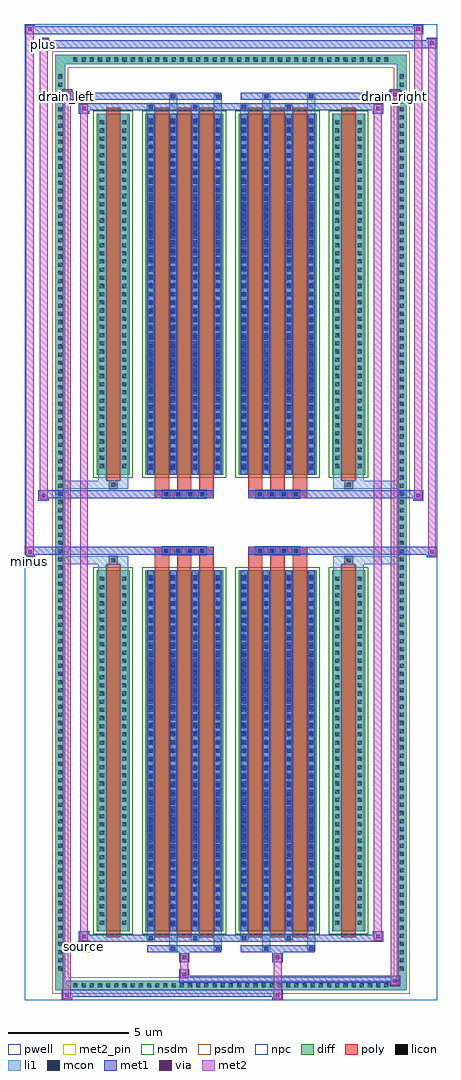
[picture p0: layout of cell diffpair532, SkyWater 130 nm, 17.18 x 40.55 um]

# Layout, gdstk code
import gdstk
lib = gdstk.Library(unit=1e-6, precision=5e-09)
def R(c, l, rs):  # rectangles x0, y0, x1, y1
    for r in rs: c.add(gdstk.rectangle(r[:2], r[2:], *l))
def A(c, l, x, y, w, h, nx, ny, dx, dy):  # array of equal rectangles
    R(c, l, [(x+i*dx, y+j*dy, x+i*dx+w, y+j*dy+h) for i in range(nx) for j in range(ny)])
def P(c, l, *ps):  # polygons
    for p in ps: c.add(gdstk.Polygon(p, *l))
pwell = (64, 44)
diff = (65, 20)
poly = (66, 20)
licon = (66, 44)
li1 = (67, 20)
mcon = (67, 44)
met1 = (68, 20)
via = (68, 44)
met2_pin = (69, 16)
met2 = (69, 20)
nsdm = (93, 44)
psdm = (94, 20)
npc = (95, 20)

diffpair532 = lib.new_cell('diffpair532')
R(diffpair532, pwell, [(-8.57,-19.84,8.57,20.71), (-5.89,-18.03,-0.01,-0.805), (0.01,-18.03,5.89,-0.805), (-5.89,0.805,-0.01,18.03), (0.01,0.805,5.89,18.03)])
A(diffpair532, diff, -6.665, -19.44, 0.41, 0.41, 39, 2, 0.34, 38.47)
A(diffpair532, diff, -7.3, -18.735, 0.41, 0.41, 1, 110, 0, 0.34)
A(diffpair532, diff, 6.89, -18.735, 0.41, 0.41, 1, 110, 0, 0.34)
R(diffpair532, diff, [(-6.665,-19.44,6.665,-19.03), (-7.3,-18.735,-6.89,18.735), (6.89,-18.735,7.3,18.735), (-5.58,-16.985,-4.2,-1.985), (-3.56,-16.985,-0.32,-1.985), (0.32,-16.985,3.56,-1.985), (4.2,-16.985,5.58,-1.985), (-5.58,1.985,-4.2,16.985), (-3.56,1.985,-0.32,16.985), (0.32,1.985,3.56,16.985), (4.2,1.985,5.58,16.985), (-6.665,19.03,6.665,19.44)])
P(diffpair532, diff, [(7.3,19.44),(-7.3,19.44),(-7.3,-19.03),(-6.89,-19.03),(-6.89,19.03),(6.89,19.03),(6.89,-19.03),(-6.89,-19.03),(-7.3,-19.03),(-7.3,-19.44),(7.3,-19.44)])
A(diffpair532, poly, -3.17, -17.235, 0.6, 15.5, 3, 2, 0.93, 18.97)
A(diffpair532, poly, 0.71, -17.235, 0.6, 15.5, 3, 2, 0.93, 18.97)
A(diffpair532, poly, -3.17, -1.735, 0.6, 0.4, 3, 2, 0.93, 3.07)
A(diffpair532, poly, 0.71, -1.735, 0.6, 0.4, 3, 2, 0.93, 3.07)
A(diffpair532, poly, -2.855, -1.335, 0.33, 0.33, 4, 2, 0.5, 2.34)
A(diffpair532, poly, 1.025, -1.335, 0.33, 0.33, 4, 2, 0.5, 2.34)
R(diffpair532, poly, [(-5.19,-17.235,-4.59,-1.735), (4.59,-17.235,5.19,-1.735), (-5.055,-1.735,-4.725,-1.405), (-5.055,-1.735,-4.725,-1.405), (4.725,-1.735,5.055,-1.405), (4.725,-1.735,5.055,-1.405), (-3.17,-1.335,-0.71,-1.005), (0.71,-1.335,3.17,-1.005), (-3.17,1.005,-0.71,1.335), (0.71,1.005,3.17,1.335), (-5.055,1.405,-4.725,1.735), (-5.055,1.405,-4.725,1.735), (4.725,1.405,5.055,1.735), (4.725,1.405,5.055,1.735), (-5.19,1.735,-4.59,17.235), (4.59,1.735,5.19,17.235)])
A(diffpair532, licon, -6.545, -19.32, 0.17, 0.17, 39, 2, 0.34, 38.47)
A(diffpair532, licon, -7.18, -18.615, 0.17, 0.17, 1, 110, 0, 0.34)
A(diffpair532, licon, 7.01, -18.615, 0.17, 0.17, 1, 110, 0, 0.34)
A(diffpair532, licon, -5.44, -16.71, 0.17, 0.17, 1, 43, 0, 0.34)
A(diffpair532, licon, -4.51, -16.71, 0.17, 0.17, 1, 43, 0, 0.34)
A(diffpair532, licon, -3.42, -16.71, 0.17, 0.17, 4, 43, 0.93, 0.34)
A(diffpair532, licon, 0.46, -16.71, 0.17, 0.17, 4, 43, 0.93, 0.34)
A(diffpair532, licon, 4.34, -16.71, 0.17, 0.17, 1, 43, 0, 0.34)
A(diffpair532, licon, 5.27, -16.71, 0.17, 0.17, 1, 43, 0, 0.34)
A(diffpair532, licon, -2.775, -1.255, 0.17, 0.17, 4, 2, 0.5, 2.34)
A(diffpair532, licon, 1.105, -1.255, 0.17, 0.17, 4, 2, 0.5, 2.34)
A(diffpair532, licon, -5.44, 2.26, 0.17, 0.17, 1, 43, 0, 0.34)
A(diffpair532, licon, -4.51, 2.26, 0.17, 0.17, 1, 43, 0, 0.34)
A(diffpair532, licon, -3.42, 2.26, 0.17, 0.17, 4, 43, 0.93, 0.34)
A(diffpair532, licon, 0.46, 2.26, 0.17, 0.17, 4, 43, 0.93, 0.34)
A(diffpair532, licon, 4.34, 2.26, 0.17, 0.17, 1, 43, 0, 0.34)
A(diffpair532, licon, 5.27, 2.26, 0.17, 0.17, 1, 43, 0, 0.34)
R(diffpair532, licon, [(-4.975,-1.655,-4.805,-1.485), (4.805,-1.655,4.975,-1.485), (-4.975,1.485,-4.805,1.655), (4.805,1.485,4.975,1.655)])
A(diffpair532, li1, -6.625, -19.4, 0.33, 0.33, 39, 2, 0.34, 38.47)
A(diffpair532, li1, -7.26, -18.695, 0.33, 0.33, 1, 110, 0, 0.34)
A(diffpair532, li1, 6.93, -18.695, 0.33, 0.33, 1, 110, 0, 0.34)
A(diffpair532, li1, -3.5, -16.985, 0.33, 15, 4, 2, 0.93, 18.97)
A(diffpair532, li1, 0.38, -16.985, 0.33, 15, 4, 2, 0.93, 18.97)
A(diffpair532, li1, -5.52, -16.79, 0.33, 0.33, 1, 43, 0, 0.34)
A(diffpair532, li1, -4.59, -16.79, 0.33, 0.33, 1, 43, 0, 0.34)
A(diffpair532, li1, -3.5, -16.79, 0.33, 0.33, 4, 43, 0.93, 0.34)
A(diffpair532, li1, 0.38, -16.79, 0.33, 0.33, 4, 43, 0.93, 0.34)
A(diffpair532, li1, 4.26, -16.79, 0.33, 0.33, 1, 43, 0, 0.34)
A(diffpair532, li1, 5.19, -16.79, 0.33, 0.33, 1, 43, 0, 0.34)
A(diffpair532, li1, -3.42, -16.77, 0.17, 0.17, 4, 41, 0.93, 0.36)
A(diffpair532, li1, -3.42, -16.77, 0.17, 14.57, 4, 2, 0.93, 18.97)
A(diffpair532, li1, 0.46, -16.77, 0.17, 0.17, 4, 41, 0.93, 0.36)
A(diffpair532, li1, 0.46, -16.77, 0.17, 14.57, 4, 2, 0.93, 18.97)
A(diffpair532, li1, -2.855, -1.335, 0.33, 0.33, 4, 2, 0.5, 2.34)
A(diffpair532, li1, 1.025, -1.335, 0.33, 0.33, 4, 2, 0.5, 2.34)
A(diffpair532, li1, -5.52, 2.18, 0.33, 0.33, 1, 43, 0, 0.34)
A(diffpair532, li1, -4.59, 2.18, 0.33, 0.33, 1, 43, 0, 0.34)
A(diffpair532, li1, -3.5, 2.18, 0.33, 0.33, 4, 43, 0.93, 0.34)
A(diffpair532, li1, 0.38, 2.18, 0.33, 0.33, 4, 43, 0.93, 0.34)
A(diffpair532, li1, 4.26, 2.18, 0.33, 0.33, 1, 43, 0, 0.34)
A(diffpair532, li1, 5.19, 2.18, 0.33, 0.33, 1, 43, 0, 0.34)
A(diffpair532, li1, -3.42, 2.2, 0.17, 0.17, 4, 41, 0.93, 0.36)
A(diffpair532, li1, 0.46, 2.2, 0.17, 0.17, 4, 41, 0.93, 0.36)
R(diffpair532, li1, [(-7.3,-19.44,-6.89,-19.03), (-7.3,-19.44,-6.89,-19.03), (-6.89,-19.44,6.89,-19.03), (6.89,-19.44,7.3,-19.03), (6.89,-19.44,7.3,-19.03), (-7.3,-19.03,-6.89,19.03), (6.89,-19.03,7.3,19.03), (-2.57,-17.79,-2.24,-16.985), (-2.49,-17.79,-2.32,-17.62), (-0.71,-17.79,-0.38,-16.985), (-0.63,-17.79,-0.46,-17.62), (1.31,-17.79,1.64,-16.985), (1.39,-17.79,1.56,-17.62), (3.17,-17.79,3.5,-16.985), (3.25,-17.79,3.42,-17.62), (-3.5,-17.36,-3.17,-16.985), (-3.42,-17.36,-3.25,-17.19), (-1.64,-17.36,-1.31,-16.985), (-1.56,-17.36,-1.39,-17.19), (0.38,-17.36,0.71,-16.985), (0.46,-17.36,0.63,-17.19), (2.24,-17.36,2.57,-16.985), (2.32,-17.36,2.49,-17.19), (-5.52,-16.985,-5.19,-1.985), (-4.59,-16.985,-4.26,-1.985), (4.26,-16.985,4.59,-1.985), (5.19,-16.985,5.52,-1.985), (-5.52,-1.985,-5.19,-1.405), (-4.59,-1.985,-4.26,-1.405), (4.26,-1.985,4.59,-1.405), (5.19,-1.985,5.52,-1.405), (-7.3,-1.735,-5.055,-1.405), (-5.52,-1.735,-5.055,-1.405), (-5.055,-1.735,-4.725,-1.405), (-4.725,-1.735,-4.26,-1.405), (4.26,-1.735,4.725,-1.405), (4.725,-1.735,5.055,-1.405), (4.725,-1.735,7.3,-1.405), (5.055,-1.735,5.52,-1.405), (-7.3,1.405,-5.055,1.735), (-5.52,1.405,-5.055,1.735), (-5.52,1.405,-5.19,1.985), (-5.055,1.405,-4.725,1.735), (-4.725,1.405,-4.26,1.735), (-4.59,1.405,-4.26,1.985), (4.26,1.405,4.725,1.735), (4.26,1.405,4.59,1.985), (4.725,1.405,5.055,1.735), (4.725,1.405,7.3,1.735), (5.055,1.405,5.52,1.735), (5.19,1.405,5.52,1.985), (-5.52,1.985,-5.19,16.985), (-4.59,1.985,-4.26,16.985), (4.26,1.985,4.59,16.985), (5.19,1.985,5.52,16.985), (-3.5,16.985,-3.17,17.36), (-2.57,16.985,-2.24,17.79), (-1.64,16.985,-1.31,17.36), (-0.71,16.985,-0.38,17.79), (0.38,16.985,0.71,17.36), (1.31,16.985,1.64,17.79), (2.24,16.985,2.57,17.36), (3.17,16.985,3.5,17.79), (-3.42,17.19,-3.25,17.36), (-1.56,17.19,-1.39,17.36), (0.46,17.19,0.63,17.36), (2.32,17.19,2.49,17.36), (-2.49,17.62,-2.32,17.79), (-0.63,17.62,-0.46,17.79), (1.39,17.62,1.56,17.79), (3.25,17.62,3.42,17.79), (-7.3,19.03,-6.89,19.44), (-7.3,19.03,-6.89,19.44), (-6.89,19.03,6.89,19.44), (6.89,19.03,7.3,19.44), (6.89,19.03,7.3,19.44)])
A(diffpair532, mcon, -3.42, -16.77, 0.17, 0.17, 4, 41, 0.93, 0.36)
A(diffpair532, mcon, 0.46, -16.77, 0.17, 0.17, 4, 41, 0.93, 0.36)
A(diffpair532, mcon, -2.775, -1.255, 0.17, 0.17, 4, 2, 0.5, 2.34)
A(diffpair532, mcon, 1.105, -1.255, 0.17, 0.17, 4, 2, 0.5, 2.34)
A(diffpair532, mcon, -3.42, 2.2, 0.17, 0.17, 4, 41, 0.93, 0.36)
A(diffpair532, mcon, 0.46, 2.2, 0.17, 0.17, 4, 41, 0.93, 0.36)
R(diffpair532, mcon, [(-2.49,-17.79,-2.32,-17.62), (-0.63,-17.79,-0.46,-17.62), (1.39,-17.79,1.56,-17.62), (3.25,-17.79,3.42,-17.62), (-3.42,-17.36,-3.25,-17.19), (-1.56,-17.36,-1.39,-17.19), (0.46,-17.36,0.63,-17.19), (2.32,-17.36,2.49,-17.19), (-3.42,17.19,-3.25,17.36), (-1.56,17.19,-1.39,17.36), (0.46,17.19,0.63,17.36), (2.32,17.19,2.49,17.36), (-2.49,17.62,-2.32,17.79), (-0.63,17.62,-0.46,17.79), (1.39,17.62,1.56,17.79), (3.25,17.62,3.42,17.79)])
A(diffpair532, met1, -3.48, -16.985, 0.29, 15, 4, 2, 0.93, 18.97)
A(diffpair532, met1, 0.4, -16.985, 0.29, 15, 4, 2, 0.93, 18.97)
A(diffpair532, met1, -3.48, -16.83, 0.29, 0.29, 4, 41, 0.93, 0.36)
A(diffpair532, met1, 0.4, -16.83, 0.29, 0.29, 4, 41, 0.93, 0.36)
A(diffpair532, met1, -2.835, -1.315, 0.29, 0.29, 4, 2, 0.5, 2.34)
A(diffpair532, met1, 1.045, -1.315, 0.29, 0.29, 4, 2, 0.5, 2.34)
A(diffpair532, met1, -3.48, 2.14, 0.29, 0.29, 4, 41, 0.93, 0.36)
A(diffpair532, met1, 0.4, 2.14, 0.29, 0.29, 4, 41, 0.93, 0.36)
R(diffpair532, met1, [(-7.03,-19.84,-6.6,-19.41), (1.725,-19.84,2.155,-19.41), (-7.03,-19.7,2.155,-19.41), (6.6,-19.27,7.03,-18.84), (-2.155,-19.13,7.03,-18.84), (-2.155,-18.99,-1.725,-18.56), (-2.155,-18.28,-1.725,-17.85), (1.725,-18.28,2.155,-17.85), (-3.48,-17.85,-0.4,-17.56), (-2.55,-17.85,-2.26,-17.56), (-0.69,-17.85,-0.4,-17.56), (0.4,-17.85,3.48,-17.56), (1.33,-17.85,1.62,-17.56), (3.19,-17.85,3.48,-17.56), (-6.32,-17.42,-5.89,-16.99), (-6.32,-17.42,-3.48,-17.13), (-3.48,-17.42,-3.19,-17.13), (-3.48,-17.42,-0.4,-17.13), (-1.62,-17.42,-1.33,-17.13), (-0.4,-17.42,0.4,-17.13), (0.4,-17.42,0.69,-17.13), (0.4,-17.42,3.48,-17.13), (2.26,-17.42,2.55,-17.13), (3.48,-17.42,6.32,-17.13), (5.89,-17.42,6.32,-16.99), (-8.57,-1.435,-8.14,-1.005), (8.14,-1.435,8.57,-1.005), (-8.57,-1.335,-0.71,-1.005), (-3.17,-1.335,-0.71,-1.005), (0.71,-1.335,3.17,-1.005), (0.71,-1.335,8.57,-1.005), (-8,0.905,-7.57,1.335), (7.57,0.905,8,1.335), (-8,1.005,-3.17,1.335), (-3.17,1.005,-0.71,1.335), (0.71,1.005,3.17,1.335), (3.17,1.005,8,1.335), (-6.32,16.99,-5.89,17.42), (5.89,16.99,6.32,17.42), (-6.32,17.13,-3.48,17.42), (-3.48,17.13,-3.19,17.42), (-3.48,17.13,-0.4,17.42), (-1.62,17.13,-1.33,17.42), (-0.4,17.13,0.4,17.42), (0.4,17.13,0.69,17.42), (0.4,17.13,3.48,17.42), (2.26,17.13,2.55,17.42), (3.48,17.13,6.32,17.42), (-7.03,17.56,-6.6,17.99), (-7.03,17.56,-3.48,17.85), (-3.48,17.56,-0.4,17.85), (-2.55,17.56,-2.26,17.85), (-0.69,17.56,-0.4,17.85), (0.4,17.56,3.48,17.85), (1.33,17.56,1.62,17.85), (3.19,17.56,3.48,17.85), (3.48,17.56,7.03,17.85), (6.6,17.56,7.03,17.99), (-8,19.71,-7.57,20.14), (-8,19.71,-5.89,20.04), (-5.89,19.71,5.89,20.04), (5.89,19.71,8.57,20.04), (8.14,19.71,8.57,20.14), (-8.57,20.28,-8.14,20.71), (-8.57,20.28,-5.89,20.61), (-5.89,20.28,5.89,20.61), (5.89,20.28,8,20.61), (7.57,20.28,8,20.71)])
R(diffpair532, via, [(-6.89,-19.7,-6.74,-19.55), (1.865,-19.7,2.015,-19.55), (6.74,-19.13,6.89,-18.98), (-2.015,-18.85,-1.865,-18.7), (-2.015,-18.14,-1.865,-17.99), (1.865,-18.14,2.015,-17.99), (-6.18,-17.28,-6.03,-17.13), (6.03,-17.28,6.18,-17.13), (-8.43,-1.295,-8.28,-1.145), (8.28,-1.295,8.43,-1.145), (-7.86,1.045,-7.71,1.195), (7.71,1.045,7.86,1.195), (-6.18,17.13,-6.03,17.28), (6.03,17.13,6.18,17.28), (-6.89,17.7,-6.74,17.85), (6.74,17.7,6.89,17.85), (-7.86,19.85,-7.71,20), (8.28,19.85,8.43,20), (-8.43,20.42,-8.28,20.57), (7.71,20.42,7.86,20.57)])
R(diffpair532, met2_pin, [(-6.355,-17.87,-5.855,-17.37), (-8.605,-1.885,-8.105,-1.385), (-7.065,17.44,-6.565,17.94), (6.565,17.44,7.065,17.94), (-8.035,19.59,-7.535,20.09)])
R(diffpair532, met2, [(-6.98,-19.79,-6.65,-19.46), (-6.98,-19.79,-6.65,17.94), (1.775,-19.79,2.105,-19.46), (1.775,-19.46,2.105,-18.23), (6.65,-19.22,6.98,-18.89), (6.65,-19.22,6.98,17.94), (-2.105,-18.94,-1.775,-18.61), (-2.105,-18.61,-1.775,-18.23), (-2.105,-18.23,-1.775,-17.9), (1.775,-18.23,2.105,-17.9), (-6.27,-17.37,-5.94,-17.04), (-6.27,-17.37,-5.94,17.37), (5.94,-17.37,6.27,-17.04), (5.94,-17.37,6.27,17.37), (-8.52,-1.385,-8.19,-1.055), (-8.52,-1.385,-8.19,20.66), (8.19,-1.385,8.52,-1.055), (8.19,-1.385,8.52,20.09), (-7.95,0.955,-7.62,1.285), (-7.95,0.955,-7.62,20.09), (7.62,0.955,7.95,1.285), (7.62,0.955,7.95,20.66), (-6.27,17.04,-5.94,17.37), (5.94,17.04,6.27,17.37), (-6.98,17.61,-6.65,17.94), (6.65,17.61,6.98,17.94), (-7.95,19.76,-7.62,20.09), (8.19,19.76,8.52,20.09), (-8.52,20.33,-8.19,20.66), (7.62,20.33,7.95,20.66)])
P(diffpair532, met2, [(8.52,-1.385),(8.52,-1.385),(8.52,-1.055),(8.52,-1.055)],
  [(8.52,19.76),(8.52,19.76),(8.52,20.09),(8.52,20.09)],
  [(-8.19,-1.385),(-8.19,-1.385),(-8.19,-1.055),(-8.19,-1.055)],
  [(-8.19,20.33),(-8.19,20.33),(-8.19,20.66),(-8.19,20.66)],
  [(7.95,0.955),(7.95,0.955),(7.95,1.285),(7.95,1.285)],
  [(7.95,20.33),(7.95,20.33),(7.95,20.66),(7.95,20.66)],
  [(-7.62,0.955),(-7.62,0.955),(-7.62,1.285),(-7.62,1.285)],
  [(-7.62,19.76),(-7.62,19.76),(-7.62,20.09),(-7.62,20.09)],
  [(-6.65,-19.79),(-6.65,-19.79),(-6.65,-19.46),(-6.65,-19.46)],
  [(-6.65,17.61),(-6.65,17.61),(-6.65,17.94),(-6.65,17.94)],
  [(6.98,-19.22),(6.98,-19.22),(6.98,-18.89),(6.98,-18.89)],
  [(6.98,17.61),(6.98,17.61),(6.98,17.94),(6.98,17.94)],
  [(-5.94,-17.37),(-5.94,-17.37),(-5.94,-17.04),(-5.94,-17.04)],
  [(-5.94,17.04),(-5.94,17.04),(-5.94,17.37),(-5.94,17.37)],
  [(6.27,-17.37),(6.27,-17.37),(6.27,-17.04),(6.27,-17.04)],
  [(6.27,17.04),(6.27,17.04),(6.27,17.37),(6.27,17.37)])
R(diffpair532, nsdm, [(-5.71,-17.115,-4.07,-1.855), (-3.69,-17.115,-0.19,-1.855), (0.19,-17.115,3.69,-1.855), (4.07,-17.115,5.71,-1.855), (-5.71,1.855,-4.07,17.115), (-3.69,1.855,-0.19,17.115), (0.19,1.855,3.69,17.115), (4.07,1.855,5.71,17.115)])
P(diffpair532, psdm, [(7.43,19.57),(-7.43,19.57),(-7.43,-18.9),(-6.76,-18.9),(-6.76,18.9),(6.76,18.9),(6.76,-18.9),(-6.76,-18.9),(-7.43,-18.9),(-7.43,-19.57),(7.43,-19.57)])
A(diffpair532, npc, -2.875, -1.355, 0.37, 0.37, 4, 2, 0.5, 2.34)
A(diffpair532, npc, 1.005, -1.355, 0.37, 0.37, 4, 2, 0.5, 2.34)
R(diffpair532, npc, [(-5.075,-1.755,-4.705,-1.385), (4.705,-1.755,5.075,-1.385), (-2.875,-1.355,-2.005,-0.985), (-2.875,-1.355,-2.005,-0.985), (-2.375,-1.355,-1.505,-0.985), (-2.375,-1.355,-1.505,-0.985), (-1.875,-1.355,-1.005,-0.985), (-1.875,-1.355,-1.005,-0.985), (1.005,-1.355,1.875,-0.985), (1.005,-1.355,1.875,-0.985), (1.505,-1.355,2.375,-0.985), (1.505,-1.355,2.375,-0.985), (2.005,-1.355,2.875,-0.985), (2.005,-1.355,2.875,-0.985), (-2.875,0.985,-2.005,1.355), (-2.875,0.985,-2.005,1.355), (-2.375,0.985,-1.505,1.355), (-2.375,0.985,-1.505,1.355), (-1.875,0.985,-1.005,1.355), (-1.875,0.985,-1.005,1.355), (1.005,0.985,1.875,1.355), (1.005,0.985,1.875,1.355), (1.505,0.985,2.375,1.355), (1.505,0.985,2.375,1.355), (2.005,0.985,2.875,1.355), (2.005,0.985,2.875,1.355), (-5.075,1.385,-4.705,1.755), (4.705,1.385,5.075,1.755)])
diffpair532.add(gdstk.Label('minus', (-8.355,-1.635), layer=69, texttype=5))
diffpair532.add(gdstk.Label('drain_right', (6.815,17.69), layer=69, texttype=5))
diffpair532.add(gdstk.Label('drain_left', (-6.815,17.69), layer=69, texttype=5))
diffpair532.add(gdstk.Label('source', (-6.105,-17.62), layer=69, texttype=5))
diffpair532.add(gdstk.Label('plus', (-7.785,19.84), layer=69, texttype=5))

lib.write_gds('diffpair532.gds')
